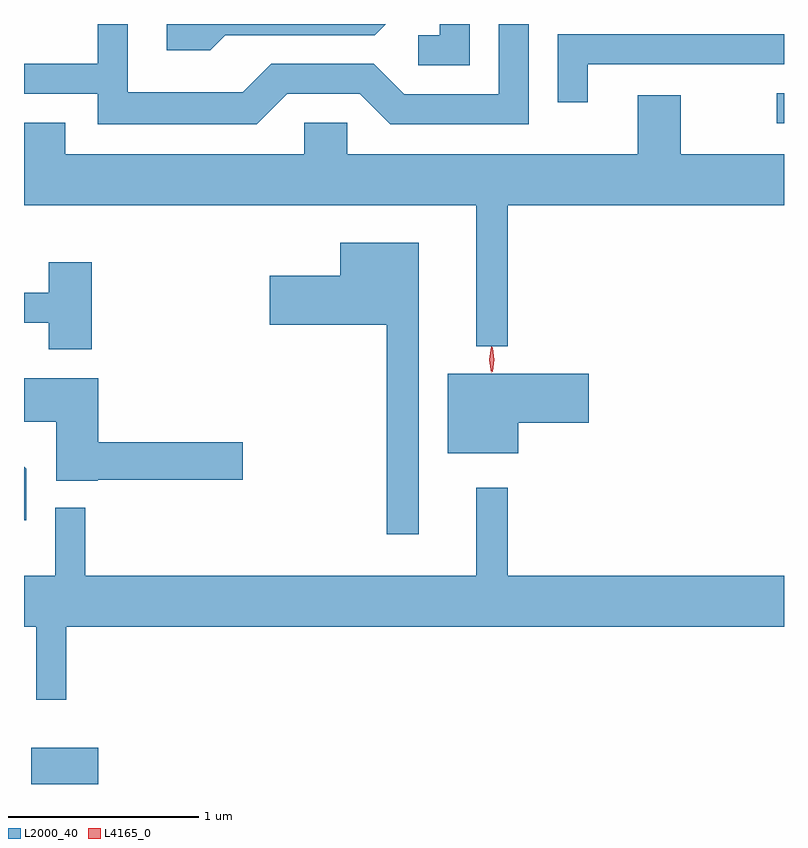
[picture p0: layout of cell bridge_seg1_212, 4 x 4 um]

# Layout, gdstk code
import gdstk
lib = gdstk.Library(unit=1e-6, precision=1e-09)
def R(c, l, rs):  # rectangles x0, y0, x1, y1
    for r in rs: c.add(gdstk.rectangle(r[:2], r[2:], *l))
def P(c, l, *ps):  # polygons
    for p in ps: c.add(gdstk.Polygon(p, *l))
L2000_40 = (2000, 40)
L4165_0 = (4165, 0)

bridge_seg1_212 = lib.new_cell('bridge_seg1_212')
R(bridge_seg1_212, L2000_40, [(777.551,867.669,777.904,867.859), (781.473,871.146,781.512,871.304)])
P(bridge_seg1_212, L2000_40, [(778.897,871.301),(779.279,871.301),(779.439,871.141),(780.169,871.141),(780.169,871.669),(780.011,871.669),(780.011,871.299),(779.512,871.299),(779.352,871.459),(778.814,871.459),(778.664,871.309),(778.059,871.309),(778.059,871.669),(777.901,871.669),(777.901,871.459),(777.512,871.459),(777.512,871.301),(777.901,871.301),(777.901,871.141),(778.737,871.141)],
  [(778.572,871.611),(779.357,871.611),(779.415,871.669),(778.263,871.669),(778.263,871.531),(778.492,871.531)],
  [(779.859,871.669),(779.701,871.669),(779.701,871.609),(779.588,871.609),(779.588,871.451),(779.859,871.451)],
  [(780.479,871.456),(781.512,871.456),(781.512,871.614),(780.321,871.614),(780.321,871.258),(780.479,871.258)],
  [(780.059,870.716),(781.512,870.716),(781.512,870.984),(780.969,870.984),(780.969,871.294),(780.741,871.294),(780.741,870.984),(779.214,870.984),(779.214,871.149),(778.986,871.149),(778.986,870.984),(777.729,870.984),(777.729,871.149),(777.512,871.149),(777.512,870.716),(779.891,870.716),(779.891,869.973),(780.059,869.973)],
  [(779.589,870.519),(779.176,870.519),(779.176,870.344),(778.806,870.344),(778.806,870.086),(779.421,870.086),(779.421,868.983),(779.589,868.983)],
  [(777.869,870.414),(777.641,870.414),(777.641,870.254),(777.512,870.254),(777.512,870.096),(777.641,870.096),(777.641,869.956),(777.869,869.956)],
  [(780.114,869.571),(780.484,869.571),(780.484,869.829),(779.741,869.829),(779.741,869.411),(780.114,869.411)],
  [(777.9,869.271),(778.664,869.271),(778.664,869.469),(777.904,869.469),(777.904,869.804),(777.512,869.804),(777.512,869.576),(777.681,869.576),(777.681,869.266),(777.9,869.266)],
  [(777.524,869.327),(777.512,869.339),(777.512,869.056),(777.524,869.056)],
  [(777.734,868.496),(781.512,868.496),(781.512,868.764),(780.059,868.764),(780.059,869.228),(779.891,869.228),(779.891,868.764),(777.834,868.764),(777.834,869.123),(777.676,869.123),(777.676,868.764),(777.512,868.764),(777.512,868.496),(777.576,868.496),(777.576,868.113),(777.734,868.113)])
P(bridge_seg1_212, L4165_0, [(779.977,869.84),(779.977,869.84),(779.967,869.903),(779.977,869.966),(779.977,869.967),(779.978,869.966),(779.988,869.903),(779.978,869.84)],
  [(779.97,869.834),(779.97,869.834),(779.961,869.902),(779.972,869.97),(779.972,869.97),(779.973,869.97),(779.981,869.902),(779.971,869.834)])

lib.write_gds('bridge_seg1_212.gds')
